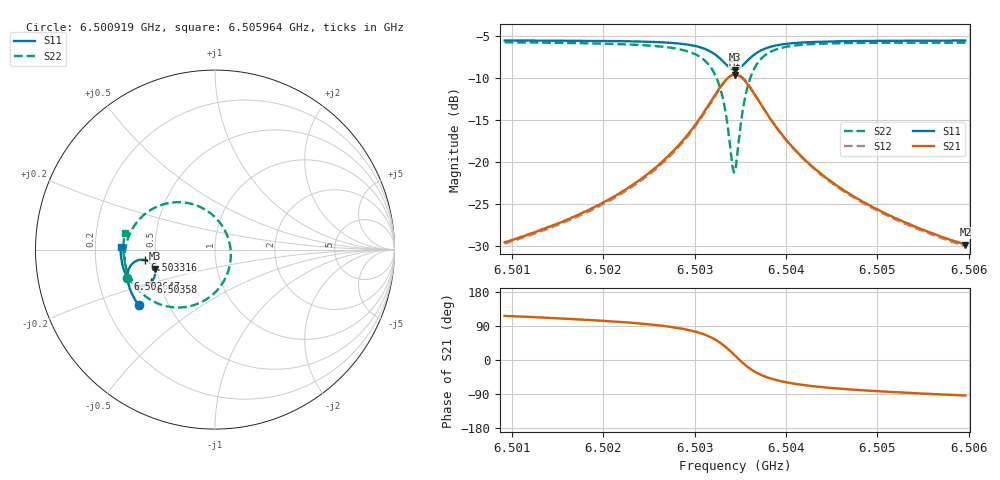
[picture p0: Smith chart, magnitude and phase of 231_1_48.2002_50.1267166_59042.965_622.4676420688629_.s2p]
#  HZ  S  RI  R  50.00
! Rohde & Schwarz Vector Network Analyzer
! Rohde-Schwarz,ZNB20-2Port,1311601062101988,3.16
! Created: UTC 3/20/2024, 11:46:21 AM
! freq[Hz]  re:S11  im:S11  re:S21  im:S21  re:S12  im:S12  re:S22  im:S22
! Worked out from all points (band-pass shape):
!   401 points, 6.500919 GHz to 6.505964 GHz, reference 50 ohm
!   highest |S21| = -9.62 dB at 6.503442 GHz (marker M1); lowest = -29.8 dB at 6.505964 GHz (marker M2)
!   |S21| within 3 dB of the highest: 6.503189 GHz to 6.503694 GHz (505 kHz wide, 0.00777 % of centre)
!   lowest |S11| = -9.0 dB at 6.503442 GHz (marker M3), VSWR 2.09, Z = 24.3 - j5.96 ohm
!   |S11| at or under -10 dB: nowhere
!   |S22| runs from -21.2 to -5.8 dB; largest |S21 - S12| = 0.011
!   S11 on the Smith chart (normalised r, x): 6.500919 GHz: 0.34, -0.29; 6.502647 GHz: 0.33, -0.14; 6.503316 GHz: 0.44, -0.06; 6.50358 GHz: 0.45, -0.19; 6.505964 GHz: 0.31, +0.01
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6.5009195e9  -0.425 -0.311  -0.0149 0.0299  -0.0132 0.03  -0.4891 -0.1568
6.5017644e9  -0.4615 -0.2489  -0.0143 0.0476  -0.0119 0.0473  -0.5028 -0.0673
6.5022436e9  -0.4783 -0.2064  -0.0112 0.0678  -0.0081 0.0666  -0.4996 0.000725
6.5026093e9  -0.4868 -0.1659  -0.00248 0.0964  0.00131 0.0942  -0.4805 0.0739
6.5026471e9  -0.4874 -0.1611  -0.00057 0.1006  0.00311 0.0982  -0.4766 0.0833
6.5029246e9  -0.4834 -0.1181  0.0262 0.1431  0.0299 0.1387  -0.421 0.1695
6.5031137e9  -0.4621 -0.08  0.0806 0.1852  0.083 0.1791  -0.3171 0.2419
6.5032272e9  -0.4294 -0.0593  0.1499 0.2027  0.1506 0.1965  -0.1922 0.264
6.5033155e9  -0.3888 -0.0577  0.2297 0.1862  0.2299 0.1811  -0.0545 0.2229
6.5033533e9  -0.3696 -0.0654  0.2659 0.1629  0.2668 0.1584  0.00552 0.1754
6.5034164e9  -0.3429 -0.0923  0.3134 0.0985  0.316 0.0935  0.0773 0.0514
6.5034416e9  -0.3366 -0.1071  0.3235 0.0661  0.3268 0.0603  0.0878 -0.00895
6.5034668e9  -0.3336 -0.1228  0.327 0.0324  0.3306 0.0253  0.0855 -0.0705
6.5035299e9  -0.3409 -0.16  0.3084 -0.0458  0.3106 -0.0558  0.0288 -0.2062
6.5035803e9  -0.3574 -0.182  0.2748 -0.0912  0.2744 -0.1025  -0.0478 -0.2768
6.5036812e9  -0.3972 -0.2007  0.1987 -0.1337  0.1937 -0.1436  -0.2025 -0.3228
6.5038452e9  -0.4454 -0.193  0.113 -0.1337  0.106 -0.139  -0.3587 -0.2802
6.5040217e9  -0.474 -0.1718  0.0662 -0.1136  0.06 -0.116  -0.435 -0.2144
6.5042865e9  -0.4962 -0.1403  0.0338 -0.0879  0.0292 -0.0885  -0.4818 -0.1379
6.5046396e9  -0.511 -0.1034  0.0158 -0.0658  0.0124 -0.0655  -0.5035 -0.0673
6.5051314e9  -0.5211 -0.0578  0.00504 -0.048  0.00278 -0.0473  -0.5103 0.00272
6.5059637e9  -0.526 0.0126  -0.0021 -0.0323  -0.0034 -0.0315  -0.5024 0.0907
